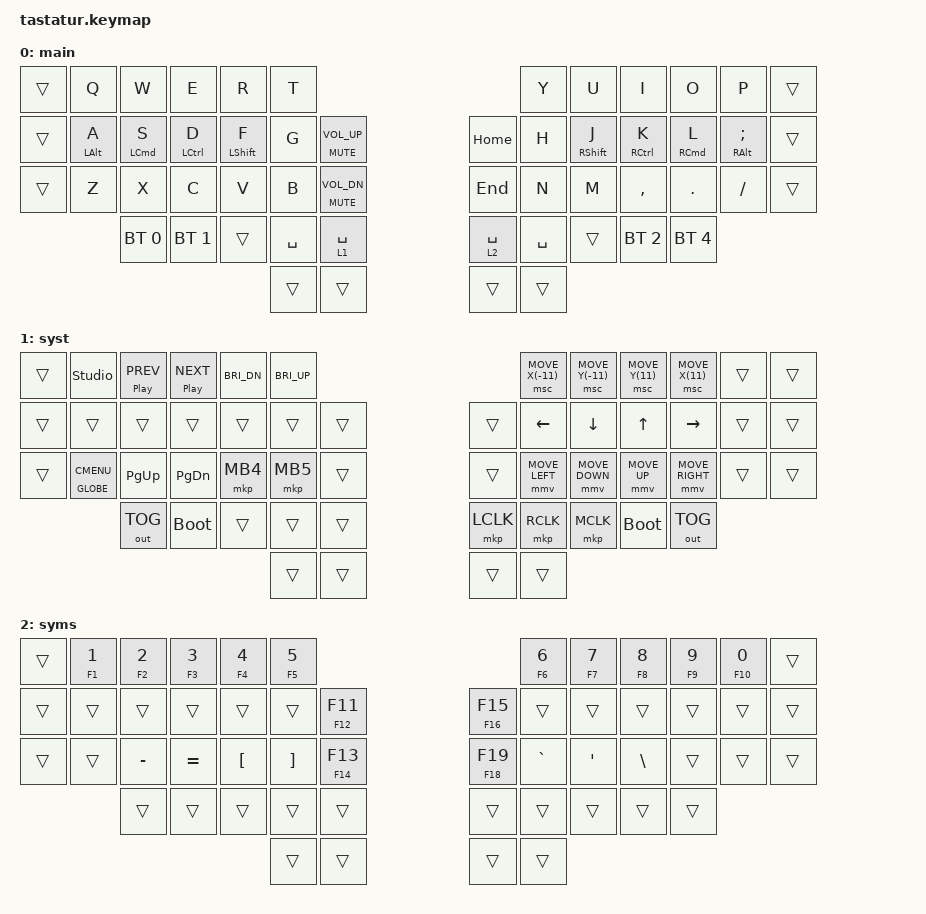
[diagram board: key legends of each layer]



#define ZMK_POINTING_DEFAULT_MOVE_VAL 1700  // default: 600
#define ZMK_POINTING_DEFAULT_SCRL_VAL 11    // default: 10

#include <behaviors.dtsi>
#include <dt-bindings/zmk/bt.h>
#include <dt-bindings/zmk/keys.h>
#include <dt-bindings/zmk/outputs.h>
#include <dt-bindings/zmk/pointing.h>

/ {
    combos {
        compatible = "zmk,combos";

        enter {
            bindings = <&kp ENTER>;
            key-positions = <36 37>;
        };

        del {
            bindings = <&kp BACKSPACE>;
            key-positions = <9 10>;
        };

        btpair-l {
            bindings = <&bt BT_CLR_ALL>;
            key-positions = <40 41>;
        };

        tab {
            bindings = <&kp TAB>;
            key-positions = <28 29>;
        };

        esc {
            bindings = <&gresc>;
            key-positions = <2 1>;
        };

        btpair-r {
            bindings = <&bt BT_CLR_ALL>;
            key-positions = <52 53>;
        };
    };

    behaviors {
        homerowl: homerowl {
            compatible = "zmk,behavior-hold-tap";
            label = "HOMEROWL";
            bindings = <&kp>, <&kp>;

            #binding-cells = <2>;
            tapping-term-ms = <200>;
            hold-trigger-key-positions = <6 7 8 9 10 11 19 20 21 22 23 24 25 33 34 35 36 37 38 39 47 48 49 50 51 52 53>;
            flavor = "hold-preferred";
        };

        homerowr: homerowr {
            compatible = "zmk,behavior-hold-tap";
            label = "HOMEROWR";
            bindings = <&kp>, <&kp>;

            #binding-cells = <2>;
            tapping-term-ms = <200>;
            flavor = "hold-preferred";
            hold-trigger-key-positions = <0 1 2 3 4 5 12 13 14 15 16 17 18 26 27 28 29 30 31 32 40 41 42 43 44 45 46>;
        };
    };

    keymap {
        compatible = "zmk,keymap";

        main {
            bindings = <
&trans        &kp Q             &kp W             &kp E              &kp R               &kp T                                      &kp Y   &kp U               &kp I              &kp O             &kp P                     &trans
&trans        &homerowl LALT A  &homerowl LCMD S  &homerowl LCTRL D  &homerowl LSHIFT F  &kp G   &mt C_MUTE C_VOL_UP      &kp HOME  &kp H   &homerowr RSHIFT J  &homerowr RCTRL K  &homerowr RCMD L  &homerowr RALT SEMICOLON  &trans
&trans        &kp Z             &kp X             &kp C              &kp V               &kp B   &mt C_MUTE C_VOL_DN      &kp END   &kp N   &kp M               &kp COMMA          &kp PERIOD        &kp FSLH                  &trans
&bt BT_SEL 0  &bt BT_SEL 1      &trans            &kp SPACE          &lt 1 SPACE         &trans  &trans                   &trans    &trans  &lt 2 SPACE         &kp SPACE          &trans            &bt BT_SEL 2              &bt BT_SEL 4
            >;
        };

        syst {
            bindings = <
&trans        &studio_unlock     &mt C_PP C_PREV  &mt C_PP C_NEXT  &kp C_BRI_DN  &kp C_BRI_UP                      &msc MOVE_X(-11)   &msc MOVE_Y(-11)   &msc MOVE_Y(11)   &msc MOVE_X(11)   &trans       &trans
&trans        &trans             &trans           &trans           &trans        &trans        &trans      &trans  &kp LEFT_ARROW     &kp DOWN_ARROW     &kp UP_ARROW      &kp RIGHT_ARROW   &trans       &trans
&trans        &mt GLOBE K_CMENU  &kp PAGE_UP      &kp PAGE_DOWN    &mkp MB4      &mkp MB5      &trans      &trans  &mmv MOVE_LEFT     &mmv MOVE_DOWN     &mmv MOVE_UP      &mmv MOVE_RIGHT   &trans       &trans
&out OUT_TOG  &bootloader        &trans           &trans           &trans        &trans        &trans      &trans  &trans             &mkp LCLK          &mkp RCLK         &mkp MCLK         &bootloader  &out OUT_TOG
            >;
        };

        syms {
            bindings = <
&trans  &mt F1 N1  &mt F2 N2  &mt F3 N3  &mt F4 N4  &mt F5 N5                                &mt F6 N6  &mt F7 N7  &mt F8 N8      &mt F9 N9  &mt F10 N0  &trans
&trans  &trans     &trans     &trans     &trans     &trans     &mt F12 F11      &mt F16 F15  &trans     &trans     &trans         &trans     &trans      &trans
&trans  &trans     &kp MINUS  &kp EQUAL  &kp LBKT   &kp RBKT   &mt F14 F13      &mt F18 F19  &kp GRAVE  &kp SQT    &kp BACKSLASH  &trans     &trans      &trans
&trans  &trans     &trans     &trans     &trans     &trans     &trans           &trans       &trans     &trans     &trans         &trans     &trans      &trans
            >;
        };
    };
};
